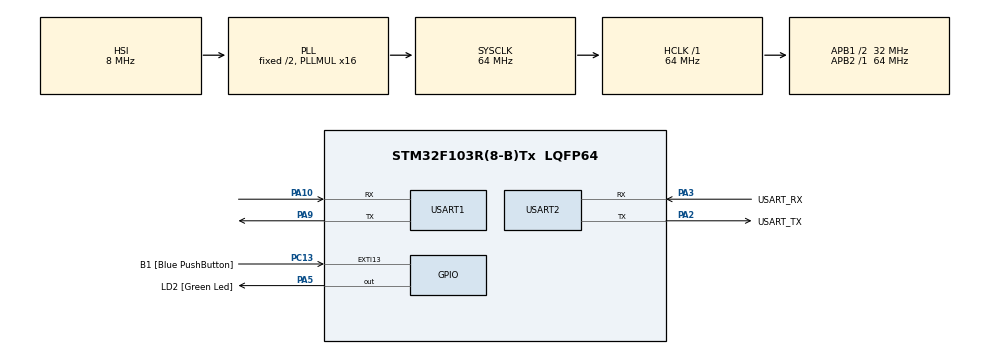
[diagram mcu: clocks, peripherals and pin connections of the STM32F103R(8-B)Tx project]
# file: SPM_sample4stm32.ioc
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Mcu.Family=STM32F1
Mcu.Name=STM32F103R(8-B)Tx
Mcu.Package=LQFP64
NVIC.EXTI15_10_IRQn=true\:0\:0\:false\:false\:true\:true\:true\:true
NVIC.PriorityGroup=NVIC_PRIORITYGROUP_4
NVIC.USART2_IRQn=true\:0\:0\:false\:false\:true\:true\:true\:true
PA10.Mode=Asynchronous
PA10.Signal=USART1_RX
PA13.GPIO_Label=TMS
PA13.Mode=Serial_Wire
PA13.Signal=SYS_JTMS-SWDIO
PA14.GPIO_Label=TCK
PA14.Mode=Serial_Wire
PA14.Signal=SYS_JTCK-SWCLK
PA2.GPIO_Label=USART_TX
PA2.GPIO_Mode=GPIO_MODE_AF_PP
PA2.GPIO_PuPd=GPIO_NOPULL
PA2.GPIO_Speed=GPIO_SPEED_FREQ_LOW
PA2.Mode=Asynchronous
PA2.Signal=USART2_TX
PA3.GPIO_Label=USART_RX
PA3.GPIO_Mode=GPIO_MODE_AF_PP
PA3.GPIO_PuPd=GPIO_NOPULL
PA3.GPIO_Speed=GPIO_SPEED_FREQ_LOW
PA3.Mode=Asynchronous
PA3.Signal=USART2_RX
PA5.GPIO_Label=LD2 [Green Led]
PA5.GPIO_ModeDefaultOutputPP=GPIO_MODE_OUTPUT_PP
PA5.GPIO_PuPd=GPIO_NOPULL
PA5.GPIO_Speed=GPIO_SPEED_FREQ_LOW
PA5.Signal=GPIO_Output
PA9.Mode=Asynchronous
PA9.Signal=USART1_TX
PB3.GPIO_Label=SWO
PB3.Signal=SYS_JTDO-TRACESWO
PC13-TAMPER-RTC.GPIO_Label=B1 [Blue PushButton]
PC13-TAMPER-RTC.GPIO_PuPd=GPIO_NOPULL
PC13-TAMPER-RTC.Signal=GPXTI13
PC14-OSC32_IN.Mode=LSE-External-Oscillator
PC14-OSC32_IN.Signal=RCC_OSC32_IN
PC15-OSC32_OUT.Mode=LSE-External-Oscillator
PC15-OSC32_OUT.Signal=RCC_OSC32_OUT
PD0-OSC_IN.Mode=HSE-External-Clock-Source
PD0-OSC_IN.Signal=RCC_OSC_IN
PD1-OSC_OUT.Mode=HSE-External-Clock-Source
PD1-OSC_OUT.Signal=RCC_OSC_OUT
ProjectManager.HeapSize=0x200
ProjectManager.StackSize=0x400
ProjectManager.TargetToolchain=STM32CubeIDE
RCC.AHBFreq_Value=64000000
RCC.APB1CLKDivider=RCC_HCLK_DIV2
RCC.APB1Freq_Value=32000000
RCC.APB1TimFreq_Value=64000000
RCC.APB2Freq_Value=64000000
RCC.APB2TimFreq_Value=64000000
RCC.HCLKFreq_Value=64000000
RCC.PLLMUL=RCC_PLL_MUL16
RCC.RTCClockSelection=RCC_RTCCLKSOURCE_LSE
RCC.SYSCLKFreq_VALUE=64000000
RCC.SYSCLKSource=RCC_SYSCLKSOURCE_PLLCLK
RCC.USBFreq_Value=64000000
USART1.VirtualMode=VM_ASYNC
USART2.VirtualMode=VM_ASYNC
board=NUCLEO-F103RB

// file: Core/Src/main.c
/* USER CODE BEGIN Header */
/**
  ******************************************************************************
  * @file           : main.c
  * @brief          : Main program body
  ******************************************************************************
  * @attention
  *
  * Copyright (c) 2025 STMicroelectronics.
  * All rights reserved.
  *
  * This software is licensed under terms that can be found in the LICENSE file
  * in the root directory of this software component.
  * If no LICENSE file comes with this software, it is provided AS-IS.
  *
  *Simple Programable Module（SPM）スレーブデバイスのSTM32用サンプル
  *プロトコルはSPM_Modbus.hに格納。SPM_ModbusTaskを適切に実行すれば勝手にレジスタの読み書きが実行される。
  *コイル16点　インプットレジスタ32点　保持レジスタ16点
  ******************************************************************************
  */
/* USER CODE END Header */
#include "main.h"
#include <SPM_Modbus.h>

UART_HandleTypeDef huart1;
UART_HandleTypeDef huart2;

/* USER CODE BEGIN PV */
int16_t ro_value[16];
int16_t rw_value[16];
uint8_t dio=0;

uint8_t recv_data;
uint8_t rx_buf[50];
int rx_len=0;
/* USER CODE END PV */

void SystemClock_Config(void);
static void MX_GPIO_Init(void);
static void MX_USART2_UART_Init(void);
static void MX_USART1_UART_Init(void);

int main(void)
{

  /* MCU Configuration--------------------------------------------------------*/

  /* Reset of all peripherals, Initializes the Flash interface and the Systick. */
  HAL_Init();

  /* Configure the system clock */
  SystemClock_Config();

  /* Initialize all configured peripherals */
  MX_GPIO_Init();
  MX_USART2_UART_Init();
  MX_USART1_UART_Init();
  /* USER CODE BEGIN 2 */
  ro_value[0] = 48;   //モデルナンバー
  ro_value[1] = 0002; //バージョン
  ro_value[2] = 0000; //サブバージョン

  //各レジスタ初期化
  p_coils[0] = &dio;//&rw_value[0];
  p_coils[1] = &dio;//&rw_value[1];

  for(int i=0; i<16; i++){
    p_holding_regs[i] = &rw_value[i];
    p_input_regs[i] = &ro_value[i];
  }
  for(int i=16; i<32; i++){
    p_input_regs[i] = &rw_value[i-16];
  }

  //Cyclic Function0登録
  cycfunc0.rx_len = 1;
  cycfunc0.rx_adr[0] = &rw_value[0];
  cycfunc0.tx_len = 1;
  cycfunc0.tx_adr[0] = &rw_value[0];

  //Cyclic Function1登録
  cycfunc1.rx_len = 2;
  cycfunc1.rx_adr[0] = &rw_value[0];
  cycfunc1.rx_adr[1] = &rw_value[1];
  cycfunc1.tx_len = 2;
  cycfunc1.tx_adr[0] = &rw_value[0];
  cycfunc1.tx_adr[1] = &rw_value[1];

  //Cyclic Function2登録
  cycfunc2.rx_len = 3;
  cycfunc2.rx_adr[0] = &rw_value[0];
  cycfunc2.rx_adr[1] = &rw_value[1];
  cycfunc2.rx_adr[2] = &rw_value[2];
  cycfunc2.tx_len = 3;
  cycfunc2.tx_adr[0] = &rw_value[0];
  cycfunc2.tx_adr[1] = &rw_value[1];
  cycfunc2.tx_adr[2] = &rw_value[2];

  //Cyclic Function3登録
  cycfunc3.rx_len = 1;
  cycfunc3.rx_adr[0] = &rw_value[0];
  cycfunc3.tx_len = 2;
  cycfunc3.tx_adr[0] = &rw_value[0];
  cycfunc3.tx_adr[1] = &rw_value[1];

  //Cyclic Function4登録
  cycfunc4.rx_len = 8;
  cycfunc4.rx_adr[0] = &rw_value[0];
  cycfunc4.rx_adr[1] = &rw_value[1];
  cycfunc4.rx_adr[2] = &rw_value[2];
  cycfunc4.rx_adr[3] = &rw_value[3];
  cycfunc4.rx_adr[4] = &rw_value[4];
  cycfunc4.rx_adr[5] = &rw_value[5];
  cycfunc4.rx_adr[6] = &rw_value[6];
  cycfunc4.rx_adr[7] = &rw_value[7];
  cycfunc4.tx_len = 8;
  cycfunc4.tx_adr[0] = &rw_value[0];
  cycfunc4.tx_adr[1] = &rw_value[1];
  cycfunc4.tx_adr[2] = &rw_value[2];
  cycfunc4.tx_adr[3] = &rw_value[3];
  cycfunc4.tx_adr[4] = &rw_value[4];
  cycfunc4.tx_adr[5] = &rw_value[5];
  cycfunc4.tx_adr[6] = &rw_value[6];
  cycfunc4.tx_adr[7] = &rw_value[7];

  SPM_ModbusSetAddress(22);

  HAL_UART_Receive_IT(&huart2, &recv_data, 1);
  /* USER CODE END 2 */

  /* Infinite loop */
  /* USER CODE BEGIN WHILE */
  while (1)
  {
	  if(rx_len>0){
		  HAL_GPIO_WritePin(GPIOA, GPIO_PIN_5, 1);
		  HAL_Delay(10);
		  uint8_t tx_buf[50];
		  int tx_len = SPM_ModbusTask(rx_buf, rx_len, tx_buf);
		  HAL_UART_Transmit(&huart2, tx_buf, tx_len, 100);
		  rx_len=0;
		  HAL_GPIO_WritePin(GPIOA, GPIO_PIN_5, 0);
	  }
    /* USER CODE END WHILE */

  }
}

void SystemClock_Config(void)
{
  RCC_OscInitTypeDef RCC_OscInitStruct = {0};
  RCC_ClkInitTypeDef RCC_ClkInitStruct = {0};

  /** Initializes the RCC Oscillators according to the specified parameters
  * in the RCC_OscInitTypeDef structure.
  */
  RCC_OscInitStruct.OscillatorType = RCC_OSCILLATORTYPE_HSI;
  RCC_OscInitStruct.HSIState = RCC_HSI_ON;
  RCC_OscInitStruct.HSICalibrationValue = RCC_HSICALIBRATION_DEFAULT;
  RCC_OscInitStruct.PLL.PLLState = RCC_PLL_ON;
  RCC_OscInitStruct.PLL.PLLSource = RCC_PLLSOURCE_HSI_DIV2;
  RCC_OscInitStruct.PLL.PLLMUL = RCC_PLL_MUL16;
  if (HAL_RCC_OscConfig(&RCC_OscInitStruct) != HAL_OK)
  {
    Error_Handler();
  }

  /** Initializes the CPU, AHB and APB buses clocks
  */
  RCC_ClkInitStruct.ClockType = RCC_CLOCKTYPE_HCLK|RCC_CLOCKTYPE_SYSCLK
                              |RCC_CLOCKTYPE_PCLK1|RCC_CLOCKTYPE_PCLK2;
  RCC_ClkInitStruct.SYSCLKSource = RCC_SYSCLKSOURCE_PLLCLK;
  RCC_ClkInitStruct.AHBCLKDivider = RCC_SYSCLK_DIV1;
  RCC_ClkInitStruct.APB1CLKDivider = RCC_HCLK_DIV2;
  RCC_ClkInitStruct.APB2CLKDivider = RCC_HCLK_DIV1;

  if (HAL_RCC_ClockConfig(&RCC_ClkInitStruct, FLASH_LATENCY_2) != HAL_OK)
  {
    Error_Handler();
  }
}

static void MX_USART1_UART_Init(void)
{

  huart1.Instance = USART1;
  huart1.Init.BaudRate = 115200;
  huart1.Init.WordLength = UART_WORDLENGTH_8B;
  huart1.Init.StopBits = UART_STOPBITS_1;
  huart1.Init.Parity = UART_PARITY_NONE;
  huart1.Init.Mode = UART_MODE_TX_RX;
  huart1.Init.HwFlowCtl = UART_HWCONTROL_NONE;
  huart1.Init.OverSampling = UART_OVERSAMPLING_16;
  if (HAL_UART_Init(&huart1) != HAL_OK)
  {
    Error_Handler();
  }

}

static void MX_USART2_UART_Init(void)
{

  huart2.Instance = USART2;
  huart2.Init.BaudRate = 115200;
  huart2.Init.WordLength = UART_WORDLENGTH_8B;
  huart2.Init.StopBits = UART_STOPBITS_1;
  huart2.Init.Parity = UART_PARITY_NONE;
  huart2.Init.Mode = UART_MODE_TX_RX;
  huart2.Init.HwFlowCtl = UART_HWCONTROL_NONE;
  huart2.Init.OverSampling = UART_OVERSAMPLING_16;
  if (HAL_UART_Init(&huart2) != HAL_OK)
  {
    Error_Handler();
  }

}

static void MX_GPIO_Init(void)
{
  GPIO_InitTypeDef GPIO_InitStruct = {0};

  /* GPIO Ports Clock Enable */
  __HAL_RCC_GPIOC_CLK_ENABLE();
  __HAL_RCC_GPIOD_CLK_ENABLE();
  __HAL_RCC_GPIOA_CLK_ENABLE();
  __HAL_RCC_GPIOB_CLK_ENABLE();

  /*Configure GPIO pin Output Level */
  HAL_GPIO_WritePin(LD2_GPIO_Port, LD2_Pin, GPIO_PIN_RESET);

  /*Configure GPIO pin : B1_Pin */
  GPIO_InitStruct.Pin = B1_Pin;
  GPIO_InitStruct.Mode = GPIO_MODE_IT_RISING;
  GPIO_InitStruct.Pull = GPIO_NOPULL;
  HAL_GPIO_Init(B1_GPIO_Port, &GPIO_InitStruct);

  /*Configure GPIO pin : LD2_Pin */
  GPIO_InitStruct.Pin = LD2_Pin;
  GPIO_InitStruct.Mode = GPIO_MODE_OUTPUT_PP;
  GPIO_InitStruct.Pull = GPIO_NOPULL;
  GPIO_InitStruct.Speed = GPIO_SPEED_FREQ_LOW;
  HAL_GPIO_Init(LD2_GPIO_Port, &GPIO_InitStruct);

  /* EXTI interrupt init*/
  HAL_NVIC_SetPriority(EXTI15_10_IRQn, 0, 0);
  HAL_NVIC_EnableIRQ(EXTI15_10_IRQn);

}

/* USER CODE BEGIN 4 */
void HAL_UART_RxCpltCallback(UART_HandleTypeDef *huart)
{
   if (huart->Instance == USART2)
   {
	   rx_buf[rx_len] = recv_data;
	   rx_len++;
       HAL_UART_Receive_IT(&huart2, &recv_data, 1);
   }
}

/* USER CODE END 4 */

void Error_Handler(void)
{
  __disable_irq();
  while (1)
  {
  }
}
